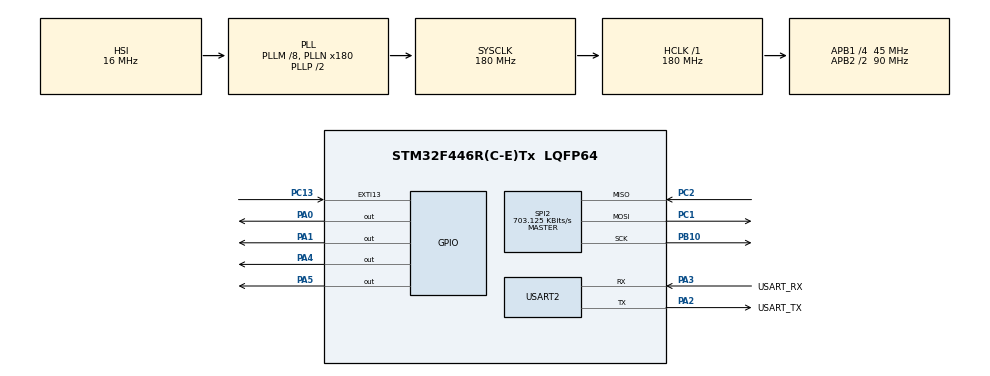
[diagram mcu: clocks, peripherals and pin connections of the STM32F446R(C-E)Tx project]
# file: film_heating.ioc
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Mcu.Family=STM32F4
Mcu.Name=STM32F446R(C-E)Tx
Mcu.Package=LQFP64
NUCLEO-F446RE.BUTTON=1
NUCLEO-F446RE.LD1=true
NVIC.EXTI15_10_IRQn=true\:0\:0\:false\:false\:true\:false\:true\:true
NVIC.PriorityGroup=NVIC_PRIORITYGROUP_0
PA0-WKUP.PinState=GPIO_PIN_SET
PA0-WKUP.Signal=GPIO_Output
PA1.PinState=GPIO_PIN_SET
PA1.Signal=GPIO_Output
PA13.GPIO_Label=TMS
PA13.Mode=Serial_Wire
PA13.Signal=SYS_JTMS-SWDIO
PA14.GPIO_Label=TCK
PA14.Mode=Serial_Wire
PA14.Signal=SYS_JTCK-SWCLK
PA2.GPIO_Label=USART_TX
PA2.Mode=Asynchronous
PA2.Signal=USART2_TX
PA3.GPIO_Label=USART_RX
PA3.Mode=Asynchronous
PA3.Signal=USART2_RX
PA4.GPIO_Speed=GPIO_SPEED_FREQ_LOW
PA4.PinState=GPIO_PIN_SET
PA4.Signal=GPIO_Output
PA5.Signal=GPIO_Output
PB10.Mode=Full_Duplex_Master
PB10.Signal=SPI2_SCK
PB3.GPIO_Label=SWO
PB3.Signal=SYS_JTDO-SWO
PC1.Mode=Full_Duplex_Master
PC1.Signal=SPI2_MOSI
PC13.Signal=GPXTI13
PC14-OSC32_IN.Signal=RCC_OSC32_IN
PC15-OSC32_OUT.Signal=RCC_OSC32_OUT
PC2.Mode=Full_Duplex_Master
PC2.Signal=SPI2_MISO
PH0-OSC_IN.Mode=HSE-External-Oscillator
PH0-OSC_IN.Signal=RCC_OSC_IN
PH1-OSC_OUT.Mode=HSE-External-Oscillator
PH1-OSC_OUT.Signal=RCC_OSC_OUT
ProjectManager.HeapSize=0x200
ProjectManager.StackSize=0x400
ProjectManager.TargetToolchain=CMake
RCC.AHBFreq_Value=180000000
RCC.APB1CLKDivider=RCC_HCLK_DIV4
RCC.APB1Freq_Value=45000000
RCC.APB1TimFreq_Value=90000000
RCC.APB2CLKDivider=RCC_HCLK_DIV2
RCC.APB2Freq_Value=90000000
RCC.APB2TimFreq_Value=180000000
RCC.CortexFreq_Value=180000000
RCC.FLatency-AdvancedSettings=FLASH_LATENCY_5
RCC.HCLKFreq_Value=180000000
RCC.HSE_VALUE=8000000
RCC.HSI_VALUE=16000000
RCC.LSE_VALUE=32768
RCC.PLLM=8
RCC.PLLN=180
RCC.SYSCLKFreq_VALUE=180000000
RCC.SYSCLKSource=RCC_SYSCLKSOURCE_PLLCLK
RCC.USBFreq_Value=180000000
RCC.VCOOutputFreq_Value=360000000
SPI2.BaudRatePrescaler=SPI_BAUDRATEPRESCALER_64
SPI2.CLKPhase=SPI_PHASE_2EDGE
SPI2.CalculateBaudRate=703.125 KBits/s
SPI2.Direction=SPI_DIRECTION_2LINES
SPI2.Mode=SPI_MODE_MASTER
SPI2.VirtualType=VM_MASTER
USART2.VirtualMode=VM_ASYNC
VP_NUCLEO-F446RE_VS_BSP_COMMON.Mode=COMMON
board=NUCLEO-F446RE

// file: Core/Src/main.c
/* USER CODE BEGIN Header */
/**
  ******************************************************************************
  * @file           : main.c
  * @brief          : Main program body
  ******************************************************************************
  * @attention
  *
  * Copyright (c) 2026 STMicroelectronics.
  * All rights reserved.
  *
  * This software is licensed under terms that can be found in the LICENSE file
  * in the root directory of this software component.
  * If no LICENSE file comes with this software, it is provided AS-IS.
  *
  ******************************************************************************
  */
/* USER CODE END Header */
#include "main.h"

/* USER CODE BEGIN Includes */
#include <stdio.h>
#include <string.h>
#include "max31865.h"
#include "uart.h"
/* USER CODE END Includes */

SPI_HandleTypeDef hspi2;

UART_HandleTypeDef huart2;

/* USER CODE BEGIN PV */
static const max31865_t probes[2] = {
  /*      hspi              port              pin                 3 wires         R_ref  */
  { &hspi2, GPIOA, GPIO_PIN_4, true, 416.0f },   // CS2 T1
  { &hspi2, GPIOA, GPIO_PIN_1, true, 428.0f },   // CS1 T2
};

/* USER CODE END PV */

void SystemClock_Config(void);
static void MX_GPIO_Init(void);
static void MX_SPI2_Init(void);
static void MX_USART2_UART_Init(void);

int main(void)
{

  /* MCU Configuration--------------------------------------------------------*/

  /* Reset of all peripherals, Initializes the Flash interface and the Systick. */
  HAL_Init();

  /* Configure the system clock */
  SystemClock_Config();

  /* Initialize all configured peripherals */
  MX_GPIO_Init();
  MX_SPI2_Init();
  MX_USART2_UART_Init();
  /* USER CODE BEGIN 2 */
  // initialization of the 2 probes
  for (int i = 0; i < 2; i++){
    char msg[48];
    bool ok = max31865_init(&probes[i]);
    uint8_t cfg = max31865_read_config(&probes[i]);

    snprintf(msg, sizeof(msg), "# probe %d init : %s (config = 0x%02X)\r\n",
             i + 1, ok ? "ok" : "failed", cfg);
    print_uart(&huart2, msg);
  }
  HAL_Delay(100);
  /* USER CODE END 2 */

  /* Initialize leds */
  BSP_LED_Init(LED2);

  /* Initialize USER push-button, will be used to trigger an interrupt each time it's pressed.*/
  BSP_PB_Init(BUTTON_USER, BUTTON_MODE_EXTI);

  /* Infinite loop */
  while (1)
  {
    /* USER CODE BEGIN 3 */
    char msg[48];
    for (int i = 0; i < 2; i++) {
      uint16_t raw;
      if (max31865_read_raw(&probes[i], &raw)){
        float t = max31865_convert_celcius(raw, probes[i].r_ref);
        snprintf(msg, sizeof(msg), "T%d=%.2f (R = %u) ", i + 1, t, (unsigned)raw);
        print_uint(&huart2, raw);
      }else{
        snprintf(msg, sizeof(msg), "T%d=DEFAUT  ", i + 1);
      }
      print_uart(&huart2, msg);
    }
    print_uart(&huart2, "\r\n");

    HAL_Delay(100);
  }
  /* USER CODE END 3 */
}

void SystemClock_Config(void)
{
  RCC_OscInitTypeDef RCC_OscInitStruct = {0};
  RCC_ClkInitTypeDef RCC_ClkInitStruct = {0};

  /** Configure the main internal regulator output voltage
  */
  __HAL_RCC_PWR_CLK_ENABLE();
  __HAL_PWR_VOLTAGESCALING_CONFIG(PWR_REGULATOR_VOLTAGE_SCALE1);

  /** Initializes the RCC Oscillators according to the specified parameters
  * in the RCC_OscInitTypeDef structure.
  */
  RCC_OscInitStruct.OscillatorType = RCC_OSCILLATORTYPE_HSI;
  RCC_OscInitStruct.HSIState = RCC_HSI_ON;
  RCC_OscInitStruct.HSICalibrationValue = RCC_HSICALIBRATION_DEFAULT;
  RCC_OscInitStruct.PLL.PLLState = RCC_PLL_ON;
  RCC_OscInitStruct.PLL.PLLSource = RCC_PLLSOURCE_HSI;
  RCC_OscInitStruct.PLL.PLLM = 8;
  RCC_OscInitStruct.PLL.PLLN = 180;
  RCC_OscInitStruct.PLL.PLLP = RCC_PLLP_DIV2;
  RCC_OscInitStruct.PLL.PLLQ = 2;
  RCC_OscInitStruct.PLL.PLLR = 2;
  if (HAL_RCC_OscConfig(&RCC_OscInitStruct) != HAL_OK)
  {
    Error_Handler();
  }

  /** Activate the Over-Drive mode
  */
  if (HAL_PWREx_EnableOverDrive() != HAL_OK)
  {
    Error_Handler();
  }

  /** Initializes the CPU, AHB and APB buses clocks
  */
  RCC_ClkInitStruct.ClockType = RCC_CLOCKTYPE_HCLK|RCC_CLOCKTYPE_SYSCLK
                              |RCC_CLOCKTYPE_PCLK1|RCC_CLOCKTYPE_PCLK2;
  RCC_ClkInitStruct.SYSCLKSource = RCC_SYSCLKSOURCE_PLLCLK;
  RCC_ClkInitStruct.AHBCLKDivider = RCC_SYSCLK_DIV1;
  RCC_ClkInitStruct.APB1CLKDivider = RCC_HCLK_DIV4;
  RCC_ClkInitStruct.APB2CLKDivider = RCC_HCLK_DIV2;

  if (HAL_RCC_ClockConfig(&RCC_ClkInitStruct, FLASH_LATENCY_5) != HAL_OK)
  {
    Error_Handler();
  }
}

static void MX_SPI2_Init(void)
{

  /* SPI2 parameter configuration*/
  hspi2.Instance = SPI2;
  hspi2.Init.Mode = SPI_MODE_MASTER;
  hspi2.Init.Direction = SPI_DIRECTION_2LINES;
  hspi2.Init.DataSize = SPI_DATASIZE_8BIT;
  hspi2.Init.CLKPolarity = SPI_POLARITY_LOW;
  hspi2.Init.CLKPhase = SPI_PHASE_2EDGE;
  hspi2.Init.NSS = SPI_NSS_SOFT;
  hspi2.Init.BaudRatePrescaler = SPI_BAUDRATEPRESCALER_64;
  hspi2.Init.FirstBit = SPI_FIRSTBIT_MSB;
  hspi2.Init.TIMode = SPI_TIMODE_DISABLE;
  hspi2.Init.CRCCalculation = SPI_CRCCALCULATION_DISABLE;
  hspi2.Init.CRCPolynomial = 10;
  if (HAL_SPI_Init(&hspi2) != HAL_OK)
  {
    Error_Handler();
  }

}

static void MX_USART2_UART_Init(void)
{

  huart2.Instance = USART2;
  huart2.Init.BaudRate = 115200;
  huart2.Init.WordLength = UART_WORDLENGTH_8B;
  huart2.Init.StopBits = UART_STOPBITS_1;
  huart2.Init.Parity = UART_PARITY_NONE;
  huart2.Init.Mode = UART_MODE_TX_RX;
  huart2.Init.HwFlowCtl = UART_HWCONTROL_NONE;
  huart2.Init.OverSampling = UART_OVERSAMPLING_16;
  if (HAL_UART_Init(&huart2) != HAL_OK)
  {
    Error_Handler();
  }

}

static void MX_GPIO_Init(void)
{
  GPIO_InitTypeDef GPIO_InitStruct = {0};

  /* GPIO Ports Clock Enable */
  __HAL_RCC_GPIOC_CLK_ENABLE();
  __HAL_RCC_GPIOH_CLK_ENABLE();
  __HAL_RCC_GPIOA_CLK_ENABLE();
  __HAL_RCC_GPIOB_CLK_ENABLE();

  /*Configure GPIO pin Output Level */
  HAL_GPIO_WritePin(GPIOA, GPIO_PIN_0|GPIO_PIN_1|GPIO_PIN_4, GPIO_PIN_SET);

  /*Configure GPIO pins : PA0 PA1 PA4 */
  GPIO_InitStruct.Pin = GPIO_PIN_0|GPIO_PIN_1|GPIO_PIN_4;
  GPIO_InitStruct.Mode = GPIO_MODE_OUTPUT_PP;
  GPIO_InitStruct.Pull = GPIO_NOPULL;
  GPIO_InitStruct.Speed = GPIO_SPEED_FREQ_LOW;
  HAL_GPIO_Init(GPIOA, &GPIO_InitStruct);

}

void Error_Handler(void)
{
  __disable_irq();
  while (1)
  {
  }
}
